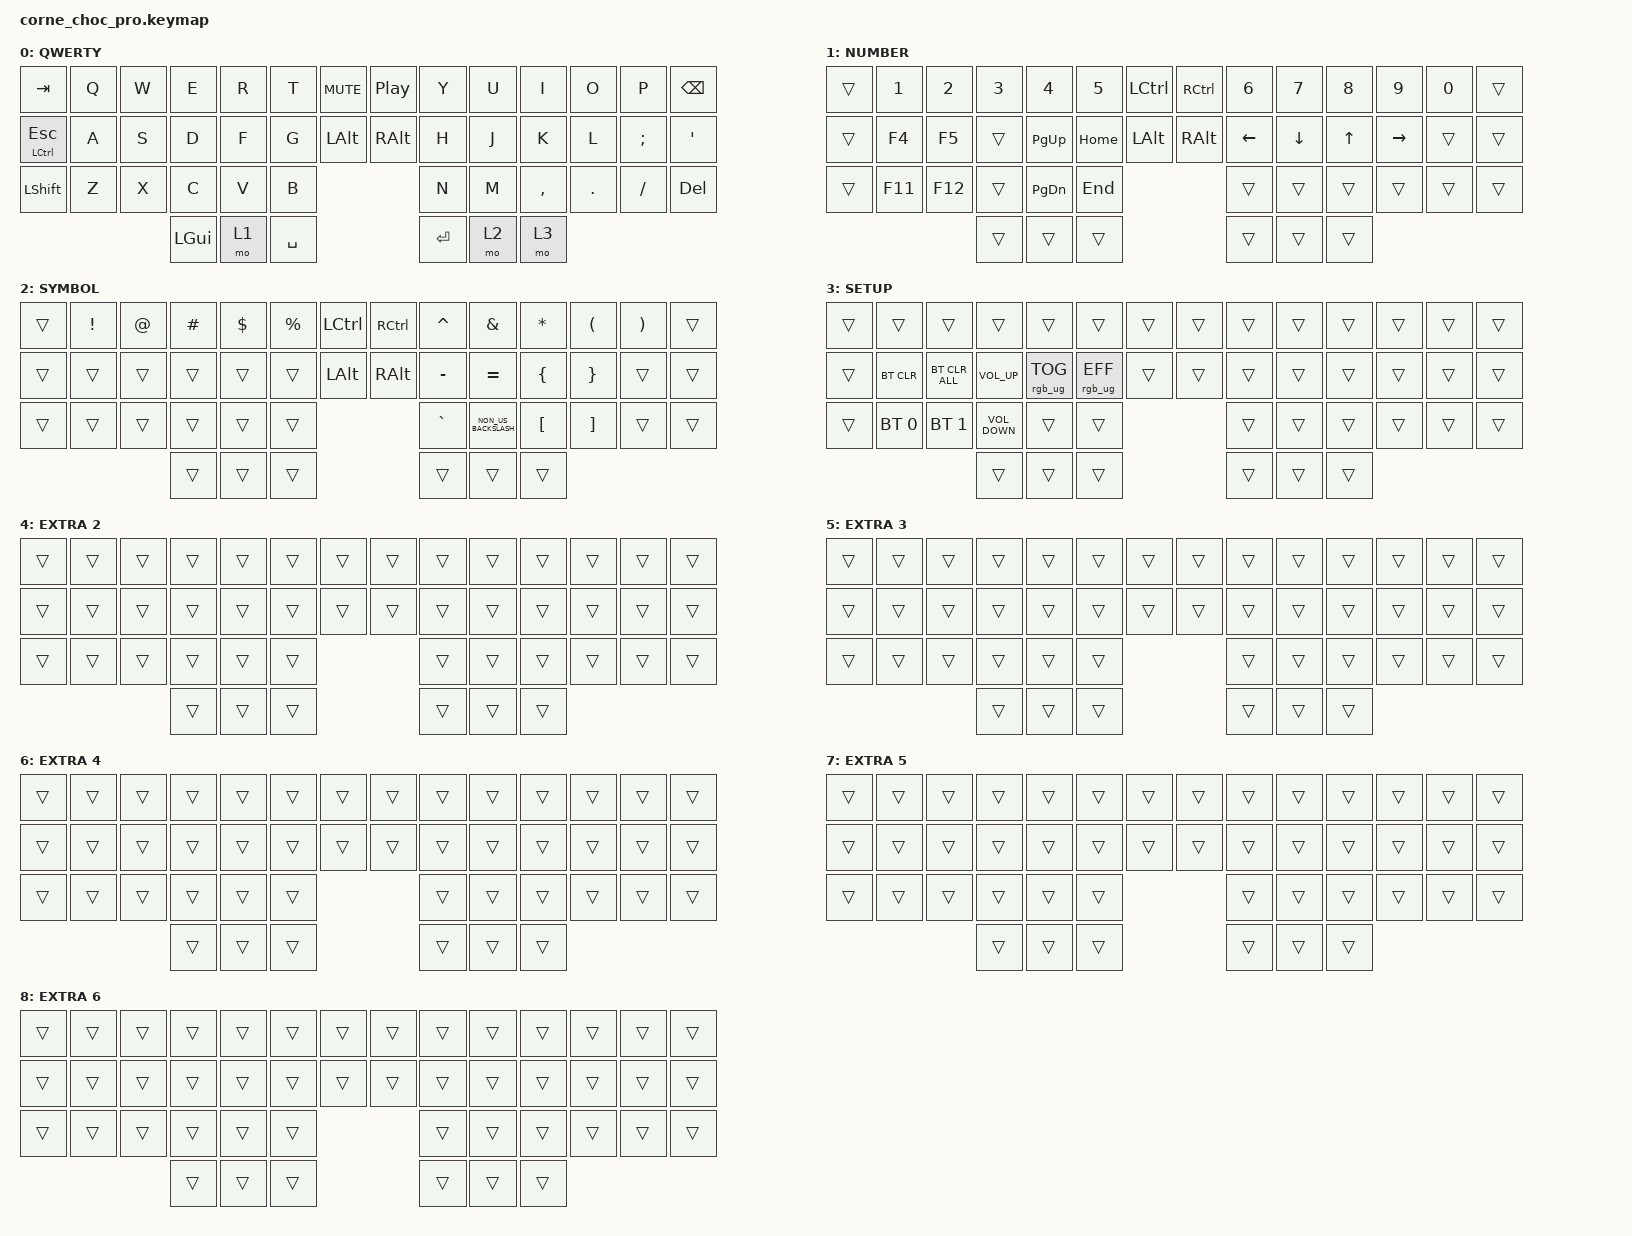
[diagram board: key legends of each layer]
/*
 * Copyright (c) 2020 The ZMK Contributors
 *
 * SPDX-License-Identifier: MIT
 */

#include <behaviors.dtsi>
#include <dt-bindings/zmk/bt.h>
#include <dt-bindings/zmk/keys.h>
#include <dt-bindings/zmk/rgb.h>

/ {
    chosen { zmk,physical-layout = &default_layout; };
};

/ {
    keymap {
        compatible = "zmk,keymap";

        default_layer {
            display-name = "QWERTY";

            // --------------------------------------------------------------------------------
            // |  TAB |  Q  |  W  |  E  |  R  |  T  |  MUTE |  PP   |  Y  |  U   |  I  |  O  |  P  | BSPC |
            // | CTRL |  A  |  S  |  D  |  F  |  G  |  LALT |  RALT |  H  |  J   |  K  |  L  |  ;  |  '   |
            // | SHFT |  Z  |  X  |  C  |  V  |  B  |               |  N  |  M   |  ,  |  .  |  /  | ESC  |
            //                    | GUI | LWR | SPC |               | ENT | RSE  | ALT |

            bindings = <
&kp TAB        &kp Q  &kp W  &kp E     &kp R  &kp T      &kp C_MUTE  &kp C_PP  &kp Y    &kp U  &kp I      &kp O       &kp P          &kp BSPC
&mt LCTRL ESC  &kp A  &kp S  &kp D     &kp F  &kp G      &kp LALT    &kp RALT  &kp H    &kp J  &kp K      &kp L       &kp SEMICOLON  &kp SQT
&kp LSHFT      &kp Z  &kp X  &kp C     &kp V  &kp B                            &kp N    &kp M  &kp COMMA  &kp PERIOD  &kp SLASH      &kp DELETE
                             &kp LGUI  &mo 1  &kp SPACE                        &kp RET  &mo 2  &mo 3
            >;
        };

        lower_layer {
            display-name = "NUMBER";

            // -----------------------------------------------------------------------------------------
            // |  TAB |  1  |  2  |  3  |  4  |  5    |  LCTRL | RCTRL |  6  |  7  |  8  |  9  |  0  | BSPC |
            // | CTRL | BT1 | BT2 | BT3 | BT4 | BT5   |  LALT  | RALT  | LFT | DWN |  UP | RGT |     |      |
            // | SHFT | BTCR| RGB | RST | BOOT| Unlock|        |       |     |     |     |     |     |      |
            //                    | GUI |     | SPC   |        | ENT   |     | ALT |

            bindings = <
&trans  &kp N1   &kp N2   &kp N3  &kp N4         &kp N5    &kp LCTRL  &kp RCTRL  &kp N6    &kp N7    &kp N8  &kp N9     &kp N0  &trans
&trans  &kp F4   &kp F5   &trans  &kp PAGE_UP    &kp HOME  &kp LALT   &kp RALT   &kp LEFT  &kp DOWN  &kp UP  &kp RIGHT  &trans  &trans
&trans  &kp F11  &kp F12  &trans  &kp PAGE_DOWN  &kp END                         &trans    &trans    &trans  &trans     &trans  &trans
                          &trans  &trans         &trans                          &trans    &trans    &trans
            >;
        };

        raise_layer {
            display-name = "SYMBOL";

            // -----------------------------------------------------------------------------------------
            // |  TAB |  !  |  @  |  #  |  $  |  %  | LCTRL | RCTRL |  ^  |  &  |  *  |  (  |  )  | BSPC |
            // | CTRL |     |     |     |     |     |  LALT | RALT  |  -  |  =  |  [  |  ]  |  \  |  `   |
            // | SHFT |     |     |     |     |     |               |  _  |  +  |  {  |  }  | "|" |  ~   |
            //                    | GUI |     | SPC |               | ENT |     | ALT |

            bindings = <
&trans  &kp EXCL  &kp AT  &kp HASH  &kp DLLR  &kp PRCNT  &kp LCTRL  &kp RCTRL  &kp CARET  &kp AMPS              &kp ASTRK         &kp LPAR           &kp RPAR  &trans
&trans  &trans    &trans  &trans    &trans    &trans     &kp LALT   &kp RALT   &kp MINUS  &kp EQUAL             &kp LEFT_BRACE    &kp RIGHT_BRACE    &trans    &trans
&trans  &trans    &trans  &trans    &trans    &trans                           &kp GRAVE  &kp NON_US_BACKSLASH  &kp LEFT_BRACKET  &kp RIGHT_BRACKET  &trans    &trans
                          &trans    &trans    &trans                           &trans     &trans                &trans
            >;
        };

        extra_layer_1 {
            display-name = "SETUP";
            bindings = <
&trans  &trans        &trans          &trans             &trans           &trans           &trans  &trans  &trans  &trans  &trans  &trans  &trans  &trans
&trans  &bt BT_CLR    &bt BT_CLR_ALL  &kp C_VOLUME_UP    &rgb_ug RGB_TOG  &rgb_ug RGB_EFF  &trans  &trans  &trans  &trans  &trans  &trans  &trans  &trans
&trans  &bt BT_SEL 0  &bt BT_SEL 1    &kp C_VOLUME_DOWN  &trans           &trans                           &trans  &trans  &trans  &trans  &trans  &trans
                                      &trans             &trans           &trans                           &trans  &trans  &trans
            >;
        };

        extra_layer_2 {
            display-name = "EXTRA 2";
            bindings = <
&trans  &trans  &trans  &trans  &trans  &trans  &trans  &trans  &trans  &trans  &trans  &trans  &trans  &trans
&trans  &trans  &trans  &trans  &trans  &trans  &trans  &trans  &trans  &trans  &trans  &trans  &trans  &trans
&trans  &trans  &trans  &trans  &trans  &trans                  &trans  &trans  &trans  &trans  &trans  &trans
                        &trans  &trans  &trans                  &trans  &trans  &trans
            >;
        };

        extra_layer_3 {
            display-name = "EXTRA 3";
            bindings = <
&trans  &trans  &trans  &trans  &trans  &trans  &trans  &trans  &trans  &trans  &trans  &trans  &trans  &trans
&trans  &trans  &trans  &trans  &trans  &trans  &trans  &trans  &trans  &trans  &trans  &trans  &trans  &trans
&trans  &trans  &trans  &trans  &trans  &trans                  &trans  &trans  &trans  &trans  &trans  &trans
                        &trans  &trans  &trans                  &trans  &trans  &trans
            >;
        };

        extra_layer_4 {
            display-name = "EXTRA 4";
            bindings = <
&trans  &trans  &trans  &trans  &trans  &trans  &trans  &trans  &trans  &trans  &trans  &trans  &trans  &trans
&trans  &trans  &trans  &trans  &trans  &trans  &trans  &trans  &trans  &trans  &trans  &trans  &trans  &trans
&trans  &trans  &trans  &trans  &trans  &trans                  &trans  &trans  &trans  &trans  &trans  &trans
                        &trans  &trans  &trans                  &trans  &trans  &trans
            >;
        };

        extra_layer_5 {
            display-name = "EXTRA 5";
            bindings = <
&trans  &trans  &trans  &trans  &trans  &trans  &trans  &trans  &trans  &trans  &trans  &trans  &trans  &trans
&trans  &trans  &trans  &trans  &trans  &trans  &trans  &trans  &trans  &trans  &trans  &trans  &trans  &trans
&trans  &trans  &trans  &trans  &trans  &trans                  &trans  &trans  &trans  &trans  &trans  &trans
                        &trans  &trans  &trans                  &trans  &trans  &trans
            >;
        };

        extra_layer_6 {
            display-name = "EXTRA 6";
            bindings = <
&trans  &trans  &trans  &trans  &trans  &trans  &trans  &trans  &trans  &trans  &trans  &trans  &trans  &trans
&trans  &trans  &trans  &trans  &trans  &trans  &trans  &trans  &trans  &trans  &trans  &trans  &trans  &trans
&trans  &trans  &trans  &trans  &trans  &trans                  &trans  &trans  &trans  &trans  &trans  &trans
                        &trans  &trans  &trans                  &trans  &trans  &trans
            >;
        };
    };
};
